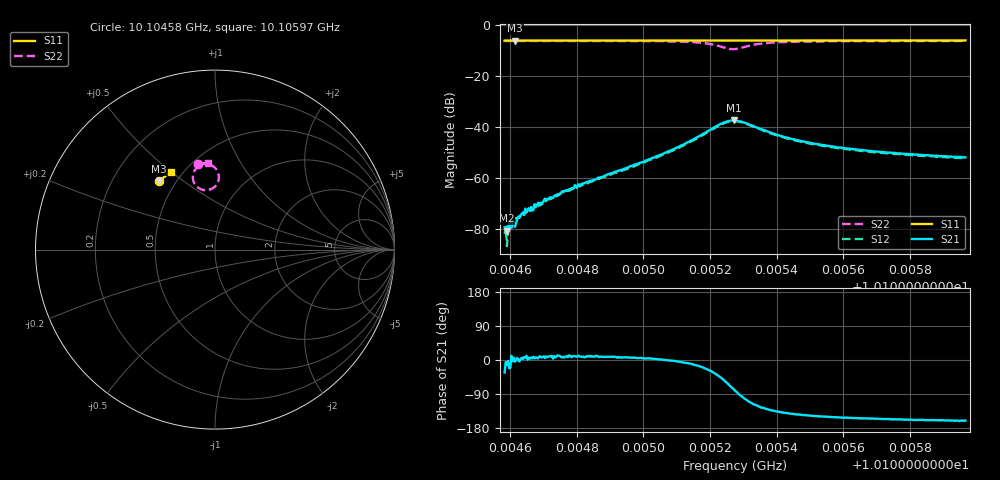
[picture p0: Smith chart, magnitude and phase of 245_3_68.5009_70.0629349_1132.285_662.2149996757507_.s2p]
#  HZ  S  RI  R  50.00
! Rohde & Schwarz Vector Network Analyzer
! Rohde-Schwarz,ZNB20-2Port,1311601062101988,3.16
! Created: UTC 3/20/2024, 5:14:44 PM
! freq[Hz]  re:S11  im:S11  re:S21  im:S21  re:S12  im:S12  re:S22  im:S22
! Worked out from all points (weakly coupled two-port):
!   401 points, 10.10458 GHz to 10.10597 GHz, reference 50 ohm
!   highest |S21| = -37.49 dB at 10.10527 GHz (marker M1); lowest = -80.8 dB at 10.10459 GHz (marker M2)
!   lowest |S11| = -6.2 dB at 10.10461 GHz (marker M3), VSWR 2.94, Z = 20.3 + j20.4 ohm
!   |S11| at or under -10 dB: nowhere
!   |S22| runs from -9.5 to -6.3 dB; largest |S21 - S12| = 0.0016
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1.0104584e10  -0.3137 0.3795  8.88e-05 -5.75e-05  7.79e-05 -1.08e-05  -0.0962 0.4749
1.0104591e10  -0.3133 0.3797  8.93e-05 -2.04e-05  4.5e-05 -6.53e-06  -0.0957 0.475
1.0104597e10  -0.3129 0.38  0.000107 -4.24e-05  0.000138 9.49e-07  -0.0951 0.4751
1.0104615e10  -0.3121 0.3807  0.000108 -8.11e-06  0.000134 -3.4e-06  -0.0937 0.4755
1.0104622e10  -0.3119 0.3811  0.000154 1.42e-05  0.000156 1.13e-05  -0.0931 0.4756
1.0104632e10  -0.3114 0.3815  0.000186 1.06e-05  0.00016 1.42e-05  -0.0922 0.4757
1.0104653e10  -0.3104 0.3823  0.000236 2.31e-06  0.000225 2.71e-05  -0.0905 0.476
1.0104663e10  -0.3099 0.3827  0.000265 3.02e-05  0.000258 5.81e-05  -0.0894 0.4763
1.010468e10  -0.3092 0.3834  0.000286 2.59e-05  0.000263 4.14e-05  -0.0879 0.4765
1.0104725e10  -0.3072 0.3851  0.000388 7.27e-05  0.000396 0.000109  -0.0837 0.4772
1.0104815e10  -0.303 0.3889  0.000758 0.000107  0.000692 0.000171  -0.0744 0.4785
1.0105047e10  -0.2919 0.3978  0.00276 8.55e-05  0.00259 0.000299  -0.0376 0.4769
1.010514e10  -0.2872 0.4013  0.00518 -0.000904  0.00499 -0.000363  -0.00663 0.462
1.0105216e10  -0.2832 0.4038  0.00811 -0.00594  0.0083 -0.00484  0.0218 0.4008
1.0105248e10  -0.2817 0.4045  0.00651 -0.0105  0.00755 -0.0095  -0.00055 0.3513
1.0105272e10  -0.2808 0.4052  0.00286 -0.013  0.00413 -0.0122  -0.0482 0.331
1.0105275e10  -0.2807 0.4054  0.0022 -0.0131  0.00339 -0.0123  -0.0557 0.3311
1.0105337e10  -0.2783 0.4079  -0.00472 -0.00867  -0.00381 -0.00881  -0.1233 0.3963
1.0105417e10  -0.2746 0.4108  -0.00487 -0.00432  -0.00433 -0.00454  -0.1094 0.4469
1.0105507e10  -0.27 0.4143  -0.00399 -0.00257  -0.00363 -0.00281  -0.0902 0.4656
1.0105739e10  -0.2584 0.4224  -0.00286 -0.00127  -0.0026 -0.00145  -0.0595 0.4794
1.0105967e10  -0.2469 0.4298  -0.00236 -0.000872  -0.00218 -0.00102  -0.0388 0.4841
